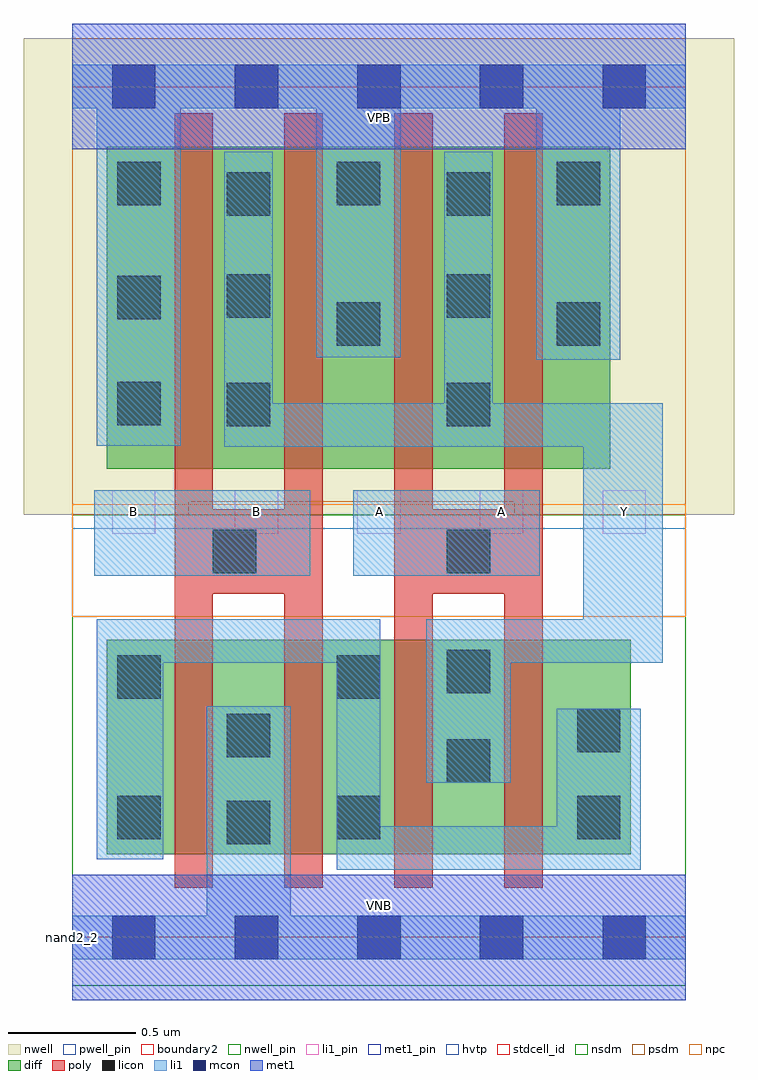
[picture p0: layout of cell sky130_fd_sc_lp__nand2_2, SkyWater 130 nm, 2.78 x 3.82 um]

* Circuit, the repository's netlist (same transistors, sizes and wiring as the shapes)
* Copyright 2020 The SkyWater PDK Authors
*
* Licensed under the Apache License, Version 2.0 (the "License");
* you may not use this file except in compliance with the License.
* You may obtain a copy of the License at
*
*     https://www.apache.org/licenses/LICENSE-2.0
*
* Unless required by applicable law or agreed to in writing, software
* distributed under the License is distributed on an "AS IS" BASIS,
* WITHOUT WARRANTIES OR CONDITIONS OF ANY KIND, either express or implied.
* See the License for the specific language governing permissions and
* limitations under the License.
*
* SPDX-License-Identifier: Apache-2.0

.SUBCKT sky130_fd_sc_lp__nand2_2 A B VGND VNB VPB VPWR Y
*.PININFO A:I B:I VGND:I VNB:I VPB:I VPWR:I Y:O
MMP0 Y A VPWR VPB sky130_fd_pr__pfet_01v8_hvt m=2 w=1.26U l=0.15U mult=1 sa=0.265
+ sb=0.265 sd=0.28 area=0.063 perim=1.14
MMP1 Y B VPWR VPB sky130_fd_pr__pfet_01v8_hvt m=2 w=1.26U l=0.15U mult=1 sa=0.265
+ sb=0.265 sd=0.28 area=0.063 perim=1.14
MMN0 Y A sndA VNB sky130_fd_pr__nfet_01v8 m=2 w=0.84U l=0.15U mult=1 sa=0.265 sb=0.265
+ sd=0.28 area=0.063 perim=1.14
MMN1 sndA B VGND VNB sky130_fd_pr__nfet_01v8 m=2 w=0.84U l=0.15U mult=1 sa=0.265
+ sb=0.265 sd=0.28 area=0.063 perim=1.14
.ENDS sky130_fd_sc_lp__nand2_2

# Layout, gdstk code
import gdstk
lib = gdstk.Library(unit=1e-6, precision=1e-09)
def R(c, l, rs):  # rectangles x0, y0, x1, y1
    for r in rs: c.add(gdstk.rectangle(r[:2], r[2:], *l))
def A(c, l, x, y, w, h, nx, ny, dx, dy):  # array of equal rectangles
    R(c, l, [(x+i*dx, y+j*dy, x+i*dx+w, y+j*dy+h) for i in range(nx) for j in range(ny)])
def P(c, l, *ps):  # polygons
    for p in ps: c.add(gdstk.Polygon(p, *l))
nwell_pin = (64, 16)
nwell = (64, 20)
diff = (65, 20)
poly = (66, 20)
licon = (66, 44)
li1_pin = (67, 16)
li1 = (67, 20)
mcon = (67, 44)
met1_pin = (68, 16)
met1 = (68, 20)
hvtp = (78, 44)
stdcell_id = (81, 4)
nsdm = (93, 44)
psdm = (94, 20)
npc = (95, 20)
pwell_pin = (122, 16)
boundary2 = (236, 0)

sky130_fd_sc_lp__nand2_2 = lib.new_cell('sky130_fd_sc_lp__nand2_2')
R(sky130_fd_sc_lp__nand2_2, nwell_pin, [(0,3.085,2.4,3.33)])
R(sky130_fd_sc_lp__nand2_2, nwell, [(-0.19,1.655,2.59,3.52)])
R(sky130_fd_sc_lp__nand2_2, diff, [(0.135,0.325,2.185,1.165), (0.135,1.835,2.105,3.095)])
P(sky130_fd_sc_lp__nand2_2, poly, [(0.98,3.225),(0.83,3.225),(0.83,1.675),(0.55,1.675),(0.55,3.225),(0.4,3.225),(0.4,0.195),(0.55,0.195),(0.55,1.345),(0.83,1.345),(0.83,0.195),(0.98,0.195)],
  [(1.84,3.225),(1.69,3.225),(1.69,1.675),(1.41,1.675),(1.41,3.225),(1.26,3.225),(1.26,0.195),(1.41,0.195),(1.41,1.345),(1.69,1.345),(1.69,0.195),(1.84,0.195)])
A(sky130_fd_sc_lp__nand2_2, licon, 0.175, 2.865, 0.17, 0.17, 3, 1, 0.86, 0)
R(sky130_fd_sc_lp__nand2_2, licon, [(0.605,0.365,0.775,0.535), (0.175,0.385,0.345,0.555), (1.035,0.385,1.205,0.555), (1.975,0.385,2.145,0.555), (1.465,0.605,1.635,0.775), (0.605,0.705,0.775,0.875), (1.975,0.725,2.145,0.895), (0.175,0.935,0.345,1.105), (1.035,0.935,1.205,1.105), (1.465,0.955,1.635,1.125), (0.55,1.425,0.72,1.595), (1.465,1.425,1.635,1.595), (0.605,2,0.775,2.17), (1.465,2,1.635,2.17), (0.175,2.005,0.345,2.175), (1.035,2.315,1.205,2.485), (1.895,2.315,2.065,2.485), (0.175,2.42,0.345,2.59), (0.605,2.425,0.775,2.595), (1.465,2.425,1.635,2.595), (0.605,2.825,0.775,2.995), (1.465,2.825,1.635,2.995)])
A(sky130_fd_sc_lp__nand2_2, li1_pin, 0.155, 1.58, 0.17, 0.17, 5, 1, 0.48, 0)
R(sky130_fd_sc_lp__nand2_2, li1, [(0.085,1.415,0.93,1.75), (1.1,1.415,1.83,1.75)])
P(sky130_fd_sc_lp__nand2_2, li1, [(0.955,2.27),(0.955,3.245),(0.425,3.245),(0.425,1.925),(0.095,1.925),(0.095,3.245),(0,3.245),(0,3.415),(2.4,3.415),(2.4,3.245),(2.145,3.245),(2.145,2.26),(1.815,2.26),(1.815,3.245),(1.285,3.245),(1.285,2.27)],
  [(0.525,0.085),(0.525,0.905),(0.855,0.905),(0.855,0.085),(2.4,0.085),(2.4,-0.085),(0,-0.085),(0,0.085)],
  [(0.785,2.09),(1.455,2.09),(1.455,3.075),(1.645,3.075),(1.645,2.09),(2.31,2.09),(2.31,1.075),(1.715,1.075),(1.715,0.605),(1.385,0.605),(1.385,1.245),(2,1.245),(2,1.92),(0.595,1.92),(0.595,3.075),(0.785,3.075)],
  [(1.205,0.435),(1.895,0.435),(1.895,0.895),(2.225,0.895),(2.225,0.265),(1.035,0.265),(1.035,1.075),(0.355,1.075),(0.355,0.305),(0.095,0.305),(0.095,1.245),(1.205,1.245)])
A(sky130_fd_sc_lp__nand2_2, mcon, 0.155, -0.085, 0.17, 0.17, 5, 2, 0.48, 3.33)
R(sky130_fd_sc_lp__nand2_2, met1_pin, [(0,0,2.4,0.245), (0,3.085,2.4,3.33)])
R(sky130_fd_sc_lp__nand2_2, met1, [(0,-0.245,2.4,0.245), (0,3.085,2.4,3.575)])
R(sky130_fd_sc_lp__nand2_2, hvtp, [(0,1.6,2.4,3.33)])
R(sky130_fd_sc_lp__nand2_2, stdcell_id, [(0,0,2.4,3.33)])
R(sky130_fd_sc_lp__nand2_2, nsdm, [(0,-0.19,2.4,1.655)])
P(sky130_fd_sc_lp__nand2_2, psdm, [(2.4,3.52),(0,3.52),(0,1.655),(0.455,1.655),(0.455,1.705),(1.73,1.705),(1.73,1.655),(2.4,1.655)])
R(sky130_fd_sc_lp__nand2_2, npc, [(0,1.255,2.4,1.695)])
R(sky130_fd_sc_lp__nand2_2, pwell_pin, [(0,0,2.4,0.245)])
R(sky130_fd_sc_lp__nand2_2, boundary2, [(0,0,2.4,3.33)])
sky130_fd_sc_lp__nand2_2.add(gdstk.Label('VNB', (1.2,0.123), layer=64, texttype=59))
sky130_fd_sc_lp__nand2_2.add(gdstk.Label('VPB', (1.2,3.208), layer=64, texttype=5))
sky130_fd_sc_lp__nand2_2.add(gdstk.Label('nand2_2', (0,0), layer=83, texttype=44))
sky130_fd_sc_lp__nand2_2.add(gdstk.Label('VPWR', (1.2,3.208), layer=68, texttype=5))
sky130_fd_sc_lp__nand2_2.add(gdstk.Label('VGND', (1.2,0.123), layer=68, texttype=5))
sky130_fd_sc_lp__nand2_2.add(gdstk.Label('A', (1.2,1.665), layer=67, texttype=5))
sky130_fd_sc_lp__nand2_2.add(gdstk.Label('A', (1.68,1.665), layer=67, texttype=5))
sky130_fd_sc_lp__nand2_2.add(gdstk.Label('B', (0.24,1.665), layer=67, texttype=5))
sky130_fd_sc_lp__nand2_2.add(gdstk.Label('B', (0.72,1.665), layer=67, texttype=5))
sky130_fd_sc_lp__nand2_2.add(gdstk.Label('Y', (2.16,1.665), layer=67, texttype=5))

lib.write_gds('sky130_fd_sc_lp__nand2_2.gds')
